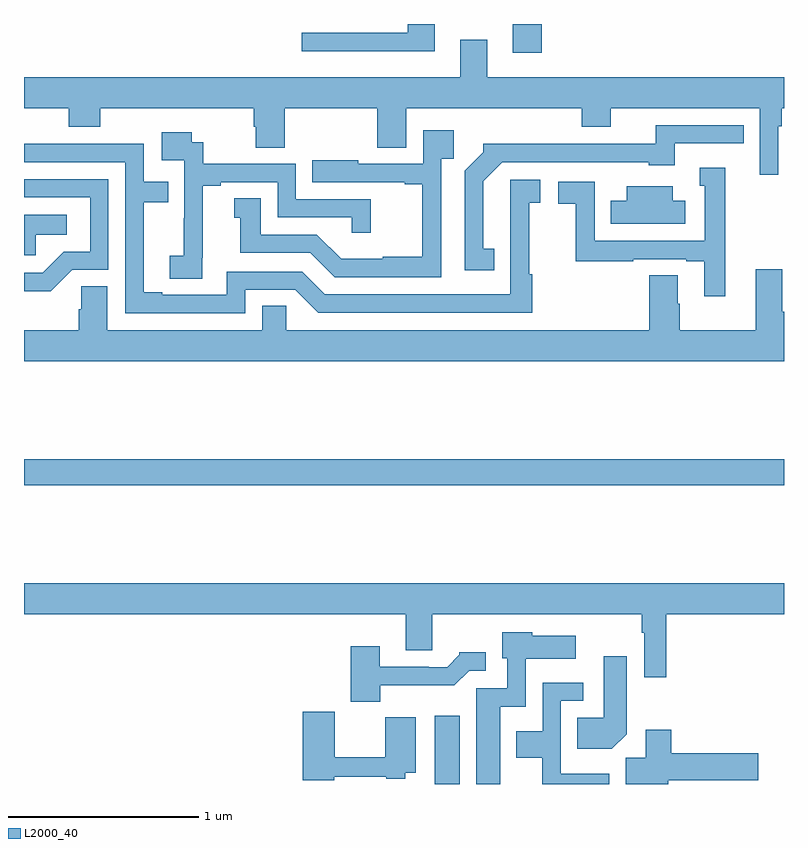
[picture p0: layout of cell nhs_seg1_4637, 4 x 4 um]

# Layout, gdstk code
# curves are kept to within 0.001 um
import gdstk
lib = gdstk.Library(unit=1e-6, precision=1e-09)
def R(c, l, rs):  # rectangles x0, y0, x1, y1
    for r in rs: c.add(gdstk.rectangle(r[:2], r[2:], *l))
def P(c, l, *ps):  # polygons
    for p in ps: c.add(gdstk.Polygon(p, *l))
L2000_40 = (2000, 40)

nhs_seg1_4637 = lib.new_cell('nhs_seg1_4637')
R(nhs_seg1_4637, L2000_40, [(365.162,524.199,365.293,524.557), (363,525.772,367,525.908), (365.573,528.048,365.726,528.199)])
P(nhs_seg1_4637, L2000_40, [(365.161,528.199),(365.021,528.199),(365.021,528.153),(364.461,528.153),(364.461,528.056),(365.161,528.056)],
  [(366.97,527.66),(366.989,527.66),(366.989,527.756),(367,527.756),(367,527.92),(365.437,527.92),(365.437,528.115),(365.297,528.115),(365.297,527.92),(363,527.92),(363,527.756),(363.236,527.756),(363.236,527.657),(363.401,527.657),(363.401,527.756),(364.208,527.756),(364.208,527.658),(364.22,527.658),(364.22,527.548),(364.373,527.548),(364.373,527.756),(364.859,527.756),(364.859,527.548),(365.011,527.548),(365.011,527.756),(365.936,527.756),(365.936,527.657),(366.088,527.657),(366.088,527.756),(366.873,527.756),(366.873,527.406),(366.97,527.406)],
  [(365.474,527.015),(365.416,527.015),(365.416,527.371),(365.517,527.472),(366.288,527.472),(366.288,527.456),(366.424,527.456),(366.424,527.571),(366.788,527.571),(366.788,527.667),(366.325,527.667),(366.325,527.568),(365.852,527.568),(365.852,527.57),(365.418,527.57),(365.418,527.525),(365.319,527.426),(365.319,526.902),(365.474,526.902)],
  [(365.196,527.489),(365.261,527.489),(365.261,527.641),(365.1,527.641),(365.1,527.463),(364.759,527.463),(364.759,527.482),(364.516,527.482),(364.516,527.367),(365.003,527.367),(365.003,527.355),(365.095,527.355),(365.095,526.975),(364.889,526.975),(364.889,526.963),(364.67,526.963),(364.542,527.091),(364.246,527.091),(364.246,527.282),(364.106,527.282),(364.106,527.179),(364.139,527.179),(364.139,526.995),(364.506,526.995),(364.635,526.866),(365.196,526.866)],
  [(363.938,526.969),(363.94,526.969),(363.94,527.347),(364.036,527.347),(364.036,527.367),(364.335,527.367),(364.335,527.181),(364.725,527.181),(364.725,527.1),(364.826,527.1),(364.826,527.277),(364.431,527.277),(364.431,527.463),(363.944,527.463),(363.944,527.577),(363.882,527.577),(363.882,527.629),(363.726,527.629),(363.726,527.481),(363.843,527.481),(363.843,527.177),(363.842,527.177),(363.842,526.98),(363.768,526.98),(363.768,526.858),(363.938,526.858)],
  [(364.164,526.8),(364.428,526.8),(364.548,526.68),(365.675,526.68),(365.675,526.883),(365.658,526.883),(365.658,527.259),(365.716,527.259),(365.716,527.38),(365.558,527.38),(365.559,526.776),(364.584,526.776),(364.464,526.896),(364.068,526.896),(364.068,526.773),(363.727,526.773),(363.727,526.788),(363.631,526.788),(363.631,527.262),(363.758,527.262),(363.758,527.37),(363.63,527.37),(363.63,527.568),(363.152,527.568),(363.152,527.57),(363,527.57),(363,527.472),(363.534,527.472),(363.534,526.677),(364.164,526.677)],
  [(366.691,527.443),(366.557,527.443),(366.557,527.349),(366.582,527.349),(366.582,527.058),(366.003,527.058),(366.003,527.37),(365.811,527.37),(365.811,527.254),(365.905,527.254),(365.905,526.95),(366.206,526.95),(366.206,526.962),(366.485,526.962),(366.485,526.95),(366.581,526.95),(366.581,526.767),(366.691,526.767)],
  [(363.255,526.905),(363.444,526.905),(363.444,527.382),(363,527.382),(363,527.286),(363.348,527.286),(363.348,527.001),(363.21,527.001),(363.099,526.89),(363,526.89),(363,526.793),(363.142,526.793)],
  [(366.481,527.269),(366.415,527.269),(366.415,527.344),(366.173,527.344),(366.173,527.269),(366.088,527.269),(366.088,527.147),(366.481,527.147)],
  [(363.063,527.09),(363.226,527.09),(363.226,527.194),(363,527.194),(363,526.983),(363.063,526.983)],
  [(367,526.684),(366.991,526.684),(366.991,526.909),(366.851,526.909),(366.851,526.588),(366.45,526.588),(366.45,526.727),(366.442,526.727),(366.442,526.877),(366.29,526.877),(366.29,526.588),(364.38,526.588),(364.38,526.715),(364.253,526.715),(364.253,526.588),(363.439,526.588),(363.439,526.82),(363.3,526.82),(363.3,526.697),(363.287,526.697),(363.287,526.588),(363,526.588),(363,526.424),(367,526.424)],
  [(366.38,525.092),(367,525.092),(367,525.256),(363,525.256),(363,525.092),(365.009,525.092),(365.009,524.902),(365.149,524.902),(365.149,525.092),(366.252,525.092),(366.252,524.996),(366.264,524.996),(366.264,524.76),(366.38,524.76)],
  [(365.506,524.606),(365.64,524.606),(365.64,524.858),(365.905,524.858),(365.905,524.98),(365.676,524.98),(365.676,524.998),(365.516,524.998),(365.516,524.862),(365.544,524.862),(365.544,524.703),(365.381,524.703),(365.381,524.199),(365.506,524.199)],
  [(364.876,524.718),(365.265,524.718),(365.343,524.796),(365.431,524.796),(365.431,524.893),(365.292,524.893),(365.292,524.878),(365.228,524.814),(365.129,524.814),(365.129,524.817),(364.873,524.817),(364.873,524.923),(364.721,524.923),(364.721,524.633),(364.876,524.633)],
  [(366.172,524.462),(366.172,524.872),(366.05,524.872),(366.05,524.548),(365.911,524.548),(365.911,524.384),(366.094,524.384)],
  [(366.079,524.254),(365.826,524.254),(365.826,524.637),(365.944,524.637),(365.944,524.733),(365.73,524.733),(365.73,524.476),(365.591,524.476),(365.591,524.336),(365.728,524.336),(365.728,524.199),(366.079,524.199)],
  [(364.632,524.238),(364.907,524.238),(364.907,524.226),(365.007,524.226),(365.007,524.258),(365.062,524.258),(365.062,524.551),(364.9,524.551),(364.9,524.339),(364.636,524.339),(364.636,524.578),(364.466,524.578),(364.466,524.218),(364.632,524.218)],
  [(366.39,524.218),(366.865,524.218),(366.865,524.36),(366.407,524.36),(366.407,524.485),(366.272,524.485),(366.272,524.336),(366.167,524.336),(366.167,524.199),(366.39,524.199)])

lib.write_gds('nhs_seg1_4637.gds')
